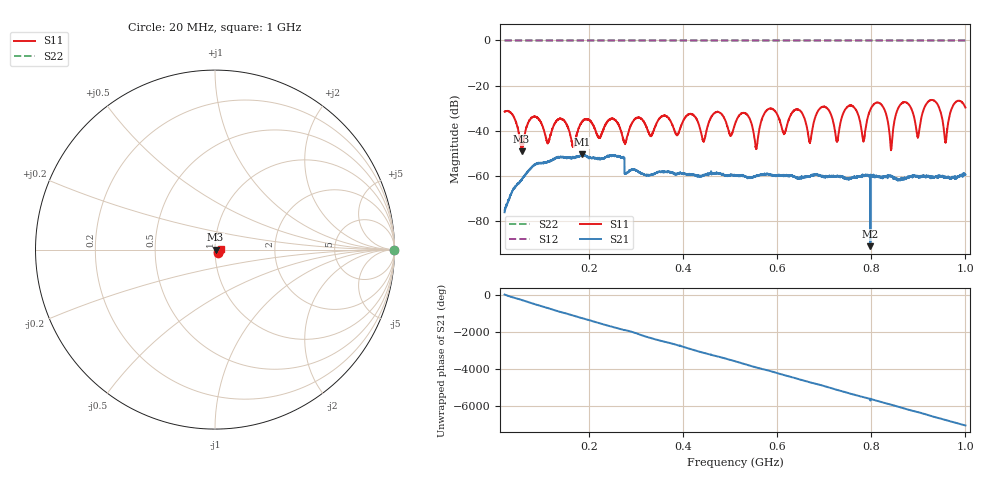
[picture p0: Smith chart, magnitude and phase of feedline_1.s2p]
! Anritsu VNA Master:  Model: MS2034B
! SN:  1713009
! /bd0/feedline_1.s2p
! Existing Calibration Information:
! TYPE:  Current Settings,  Active Cal Settings
! TIME:  10/18/2022 10:59:49 AM,  10/18/2022 10:43:36 AM
! INTERNAL TEMP:  42.5 C,  42.0 C
! # POINTS:  4001,  4001
! START FREQ:  20.000 MHz,  20.000 MHz
! STOP FREQ:  1.000 GHz,  1.000 GHz
! SOURCE POWER:  Default,  Default
! IFBW:  500 Hz,  500 Hz
! AVG FACTOR:  1 ,  1
! REF PLANE 1:  0 mm,  0 mm
! REF PLANE 2:  0 mm,  0 mm
! CAL TYPE:  1P2P S11,S21,  1P2P S11,S21
! CAL METHOD:  SOLT,  SOLT
! CAL LINE TYPE:  Coax,  Coax
! DUT PORT 1:  K-Conn(F),  K-Conn(F)
! DUT PORT 2:  N-Conn(M),  N-Conn(M)
! CAL STATUS:  OK: Accuracy High,  --
# GHZ S RI R 50.0
! FREQ.GHZ  S11RE  S11IM  S21RE  S21IM  S12RE  S12IM  S22RE  S22IM
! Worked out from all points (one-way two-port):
!   4001 points, 20 MHz to 1 GHz, reference 50 ohm
!   highest |S21| = -50.45 dB at 185.4 MHz (marker M1); lowest = -91.1 dB at 797.9 MHz (marker M2)
!   lowest |S11| = -49.2 dB at 56.02 MHz (marker M3), VSWR 1.01, Z = 50.3 - j0.112 ohm
!   |S11| at or under -10 dB: start of sweep to end of sweep
!   |S22| runs from 0.0 to 0.0 dB; largest |S21 - S12| = 1
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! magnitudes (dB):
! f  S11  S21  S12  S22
! 20 MHz  -31.5  -76.1  0.0  0.0
! 56.02 MHz  -49.2  -61.7  0.0  0.0
! 81 MHz  -33.9  -55.4  0.0  0.0
! 166.5 MHz  -47.1  -51.9  0.0  0.0
! 183.4 MHz  -36.4  -50.7  0.0  0.0
! 185.4 MHz  -35.8  -50.4  0.0  0.0
! 346.8 MHz  -35.3  -58.2  0.0  0.0
! 510 MHz  -37.0  -60.0  0.0  0.0
! 555.3 MHz  -48.1  -59.9  0.0  0.0
! 578.8 MHz  -30.7  -59.1  0.0  0.0
! 614.4 MHz  -41.1  -60.0  0.0  0.0
! 642.8 MHz  -30.6  -61.2  0.0  0.0
! 673.4 MHz  -41.0  -59.5  0.0  0.0
! 755.7 MHz  -28.9  -60.9  0.0  0.0
! 783.4 MHz  -44.4  -60.0  0.0  0.0
! 797.9 MHz  -30.6  -91.1  0.0  0.0
! 836.8 MHz  -38.3  -60.2  0.0  0.0
! 868.2 MHz  -27.5  -61.5  0.0  0.0
! 898.8 MHz  -42.9  -60.2  0.0  0.0
! 934.8 MHz  -26.8  -60.5  0.0  0.0
! 957.9 MHz  -45.3  -60.6  0.0  0.0
! 1 GHz  -29.7  -59.4  0.0  0.0
